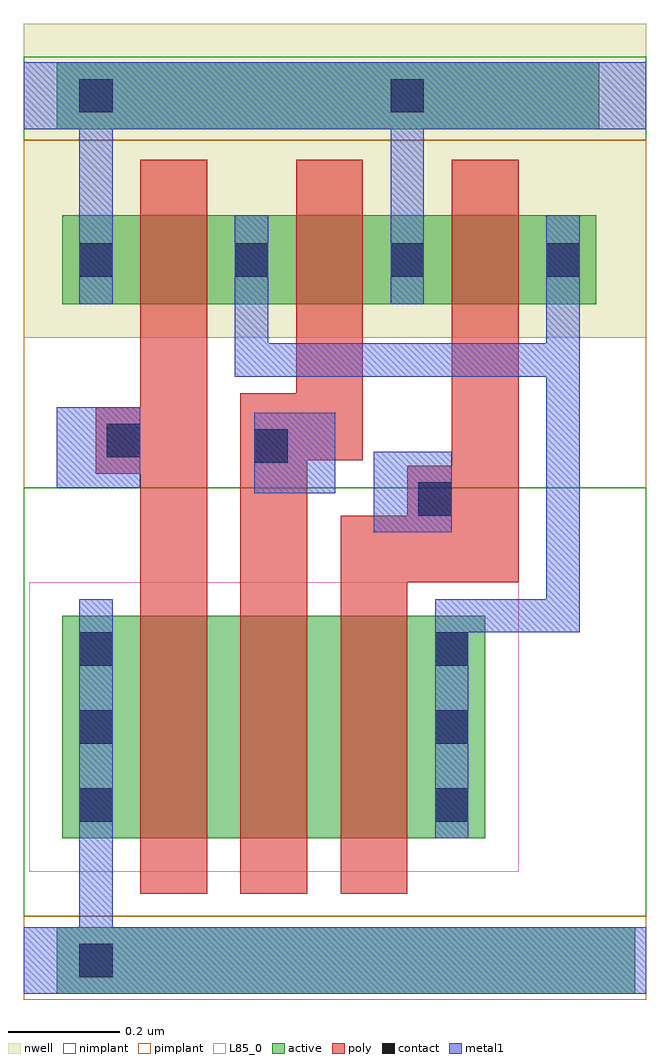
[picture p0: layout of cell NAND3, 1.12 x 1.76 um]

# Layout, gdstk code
import gdstk
lib = gdstk.Library(unit=1e-6, precision=5e-10)
def R(c, l, rs):  # rectangles x0, y0, x1, y1
    for r in rs: c.add(gdstk.rectangle(r[:2], r[2:], *l))
def A(c, l, x, y, w, h, nx, ny, dx, dy):  # array of equal rectangles
    R(c, l, [(x+i*dx, y+j*dy, x+i*dx+w, y+j*dy+h) for i in range(nx) for j in range(ny)])
active = (1, 0)
nwell = (2, 0)
poly = (3, 0)
nimplant = (4, 0)
pimplant = (5, 0)
contact = (6, 0)
metal1 = (7, 0)
L85_0 = (85, 0)

nmos1v__2 = lib.new_cell('nmos1v$$2')
R(nmos1v__2, active, [(-0.03,0,0,0.4), (0,0,0.12,0.4), (0.12,0,0.15,0.4)])
R(nmos1v__2, poly, [(0,-0.1,0.12,-0.05), (0,-0.05,0.12,0), (0,0,0.12,0.4), (0,0.4,0.12,0.45), (0,0.45,0.12,0.5)])
R(nmos1v__2, nimplant, [(-0.1,-0.1,0.22,0.5), (-0.1,-0.07,0.22,0.47)])
R(nmos1v__2, L85_0, [(-0.09,-0.06,0.21,0.46)])

nmos1v__3 = lib.new_cell('nmos1v$$3')
R(nmos1v__3, active, [(-0.03,0,0,0.4), (0,0,0.12,0.4), (0.12,0,0.26,0.4)])
R(nmos1v__3, poly, [(0,-0.1,0.12,-0.05), (0,-0.05,0.12,0), (0,0,0.12,0.4), (0,0.4,0.12,0.45), (0,0.45,0.12,0.5)])
R(nmos1v__3, nimplant, [(-0.1,-0.1,0.22,0.5), (-0.1,-0.07,0.33,0.47)])
A(nmos1v__3, contact, 0.17, 0.03, 0.06, 0.06, 1, 3, 0, 0.14)
R(nmos1v__3, metal1, [(0.17,0,0.23,0.4)])
R(nmos1v__3, L85_0, [(-0.09,-0.06,0.32,0.46)])

nmos1v__4 = lib.new_cell('nmos1v$$4')
R(nmos1v__4, active, [(-0.14,0,0,0.4), (0,0,0.12,0.4), (0.12,0,0.15,0.4)])
R(nmos1v__4, poly, [(0,-0.1,0.12,-0.05), (0,-0.05,0.12,0), (0,0,0.12,0.4), (0,0.4,0.12,0.45), (0,0.45,0.12,0.5)])
R(nmos1v__4, nimplant, [(-0.1,-0.1,0.22,0.5), (-0.21,-0.07,0.22,0.47)])
A(nmos1v__4, contact, -0.11, 0.03, 0.06, 0.06, 1, 3, 0, 0.14)
R(nmos1v__4, metal1, [(-0.11,0,-0.05,0.4)])
R(nmos1v__4, L85_0, [(-0.2,-0.06,0.21,0.46)])

m1_po__1 = lib.new_cell('M1_PO$$1')
R(m1_po__1, poly, [(-0.05,-0.06,0.05,0.06)])
R(m1_po__1, contact, [(-0.03,-0.03,0.03,0.03)])
R(m1_po__1, metal1, [(-0.03,-0.06,0.03,0.06)])

nand3 = lib.new_cell('NAND3')
A(nand3, active, 0.21, 1.2, 0.12, 0.16, 3, 1, 0.28, 0)
R(nand3, active, [(0.06,-0.04,1.1,0.08), (0.07,1.2,0.21,1.36), (0.33,1.2,0.44,1.36), (0.44,1.2,0.49,1.36), (0.61,1.2,0.72,1.36), (0.72,1.2,0.77,1.36), (0.89,1.2,1.03,1.36), (0.06,1.515,0.63,1.635), (0.63,1.515,1.035,1.635)])
R(nand3, nwell, [(0,1.14,1.12,1.675), (0.01,1.14,0.5,1.42), (0.38,1.14,0.78,1.42), (0.66,1.14,1.09,1.42), (0,1.42,0.54,1.705), (0.54,1.42,1.12,1.705)])
A(nand3, poly, 0.21, 1.1, 0.12, 0.05, 3, 2, 0.28, 0.05)
A(nand3, poly, 0.21, 1.2, 0.12, 0.16, 3, 1, 0.28, 0)
A(nand3, poly, 0.21, 1.36, 0.12, 0.05, 3, 2, 0.28, 0.05)
R(nand3, nimplant, [(0,0.1,1.12,0.87), (0,1.495,0.62,1.645), (0.62,1.495,1.12,1.645)])
A(nand3, pimplant, 0.11, 1.1, 0.32, 0.36, 3, 1, 0.28, 0)
R(nand3, pimplant, [(0,-0.05,1.12,0.1), (0,0.87,1.12,1.495), (0,1.13,0.51,1.43), (0.37,1.13,0.79,1.43), (0.65,1.13,1.1,1.43)])
A(nand3, contact, 0.1, 1.25, 0.06, 0.06, 4, 1, 0.28, 0)
R(nand3, contact, [(0.1,-0.01,0.16,0.05), (0.1,1.545,0.16,1.605), (0.66,1.545,0.72,1.605)])
A(nand3, metal1, 0.1, 1.2, 0.06, 0.16, 4, 1, 0.28, 0)
R(nand3, metal1, [(0,-0.04,0.06,0.02), (0.1,-0.04,0.16,0.08), (0.63,0.79,0.77,0.935), (0.71,0.82,0.77,0.88), (0.415,0.86,0.56,1.005), (0.06,0.87,0.21,1.015), (0.94,0.88,1,0.94), (0.415,0.915,0.475,0.975), (0.15,0.925,0.21,0.985), (0.1,1.515,0.16,1.635), (0.66,1.515,0.72,1.635), (0,1.575,0.06,1.635)])
nand3.add(gdstk.FlexPath([(0.55,0.98),(0.55,1.1)], 0.12, ends=(0.06, 0), simple_path=True, layer=3, datatype=0))  # poly
nand3.add(gdstk.FlexPath([(0.45,0.98),(0.55,0.98)], 0.12, ends="extended", simple_path=True, layer=3, datatype=0))  # poly
nand3.add(gdstk.FlexPath([(0.45,0.735),(0.45,0.98)], 0.12, ends=(0, 0.06), simple_path=True, layer=3, datatype=0))  # poly
nand3.add(gdstk.FlexPath([(0.83,0.76),(0.57,0.76)], 0.12, ends=(0.06, 0), simple_path=True, layer=3, datatype=0))  # poly
nand3.add(gdstk.FlexPath([(0.83,1.1),(0.83,0.76)], 0.12, ends=(0, 0.06), simple_path=True, layer=3, datatype=0))  # poly
nand3.add(gdstk.FlexPath([(0.27,1.1),(0.27,0.29)], 0.12, ends="flush", simple_path=True, layer=3, datatype=0))  # poly
nand3.add(gdstk.FlexPath([(0.13,1.36),(0.13,1.575)], 0.06, ends=(0, 0.06), simple_path=True, layer=7, datatype=0))  # metal1
nand3.add(gdstk.FlexPath([(0.69,1.36),(0.69,1.575)], 0.06, ends=(0, 0.06), simple_path=True, layer=7, datatype=0))  # metal1
nand3.add(gdstk.FlexPath([(0,1.575),(1.12,1.575)], 0.12, ends="flush", simple_path=True, layer=7, datatype=0))  # metal1
nand3.add(gdstk.FlexPath([(0.41,1.1),(0.97,1.1)], 0.06, ends="extended", simple_path=True, layer=7, datatype=0))  # metal1
nand3.add(gdstk.FlexPath([(0.41,1.2),(0.41,1.1)], 0.06, ends=(0, 0.03), simple_path=True, layer=7, datatype=0))  # metal1
nand3.add(gdstk.FlexPath([(0.97,0.64),(0.74,0.64)], 0.06, ends=(0.03, 0), simple_path=True, layer=7, datatype=0))  # metal1
nand3.add(gdstk.FlexPath([(0.97,1.2),(0.97,0.64)], 0.06, ends=(0, 0.03), simple_path=True, layer=7, datatype=0))  # metal1
nand3.add(gdstk.FlexPath([(0.13,0.67),(0.13,0.02)], 0.06, ends=(0, 0.06), simple_path=True, layer=7, datatype=0))  # metal1
nand3.add(gdstk.FlexPath([(1.12,0.02),(0,0.02)], 0.12, ends="flush", simple_path=True, layer=7, datatype=0))  # metal1
nand3.add(gdstk.Reference(nmos1v__2, (0.39,0.24)))
nand3.add(gdstk.Reference(nmos1v__3, (0.57,0.24)))
nand3.add(gdstk.Reference(nmos1v__4, (0.21,0.24)))
nand3.add(gdstk.Reference(m1_po__1, (0.18,0.955)))
nand3.add(gdstk.Reference(m1_po__1, (0.445,0.945)))
nand3.add(gdstk.Reference(m1_po__1, (0.74,0.85)))

lib.write_gds('NAND3.gds')
